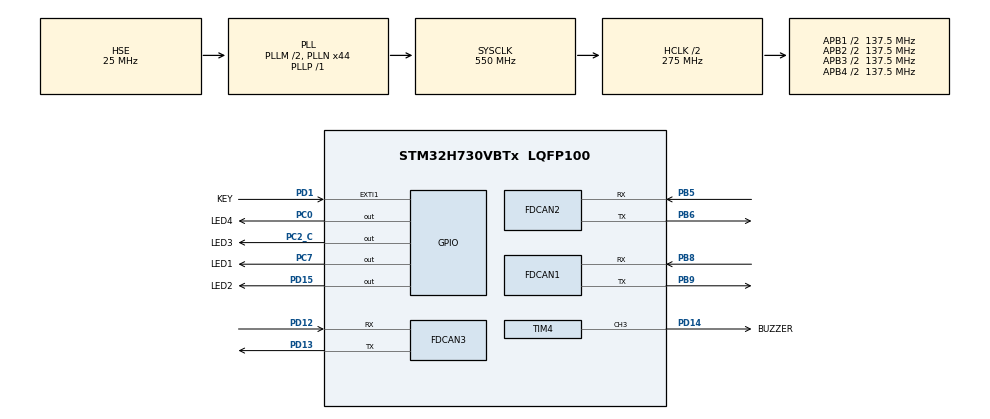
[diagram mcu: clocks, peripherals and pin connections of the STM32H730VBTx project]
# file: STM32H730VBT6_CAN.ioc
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CORTEX_M7.default_mode_Activation=1
FDCAN1.AutoRetransmission=ENABLE
FDCAN1.CalculateBaudRateNominal=1000000
FDCAN1.CalculateTimeBitNominal=1000
FDCAN1.CalculateTimeQuantumNominal=200.0
FDCAN1.DataSyncJumpWidth=2
FDCAN1.DataTimeSeg1=13
FDCAN1.DataTimeSeg2=2
FDCAN1.ExtFiltersNbr=4
FDCAN1.NominalPrescaler=5
FDCAN1.NominalSyncJumpWidth=20
FDCAN1.NominalTimeSeg1=2
FDCAN1.NominalTimeSeg2=2
FDCAN1.ProtocolException=ENABLE
FDCAN1.RxBuffersNbr=2
FDCAN1.RxFifo0ElmtsNbr=8
FDCAN1.RxFifo1ElmtsNbr=2
FDCAN1.StdFiltersNbr=4
FDCAN1.TxBuffersNbr=8
FDCAN1.TxEventsNbr=8
FDCAN1.TxFifoQueueElmtsNbr=8
FDCAN2.AutoRetransmission=ENABLE
FDCAN2.CalculateBaudRateNominal=1000000
FDCAN2.CalculateTimeBitNominal=1000
FDCAN2.CalculateTimeQuantumNominal=200.0
FDCAN2.DataSyncJumpWidth=2
FDCAN2.DataTimeSeg1=13
FDCAN2.ExtFiltersNbr=4
FDCAN2.MessageRAMOffset=0x406
FDCAN2.NominalPrescaler=5
FDCAN2.NominalSyncJumpWidth=20
FDCAN2.ProtocolException=ENABLE
FDCAN2.RxBuffersNbr=3
FDCAN2.RxFifo0ElmtsNbr=8
FDCAN2.RxFifo1ElmtsNbr=8
FDCAN2.StdFiltersNbr=4
FDCAN2.TxBuffersNbr=8
FDCAN2.TxEventsNbr=8
FDCAN2.TxFifoQueueElmtsNbr=8
FDCAN3.AutoRetransmission=DISABLE
FDCAN3.CalculateBaudRateNominal=1000000
FDCAN3.CalculateTimeBitNominal=1000
FDCAN3.CalculateTimeQuantumNominal=200.0
FDCAN3.DataSyncJumpWidth=2
FDCAN3.DataTimeSeg1=13
FDCAN3.DataTimeSeg2=2
FDCAN3.ExtFiltersNbr=4
FDCAN3.MessageRAMOffset=0x812
FDCAN3.NominalPrescaler=5
FDCAN3.NominalSyncJumpWidth=20
FDCAN3.ProtocolException=DISABLE
FDCAN3.RxBuffersNbr=2
FDCAN3.RxFifo0ElmtsNbr=8
FDCAN3.RxFifo1ElmtsNbr=8
FDCAN3.StdFiltersNbr=4
FDCAN3.TxBuffersNbr=8
FDCAN3.TxEventsNbr=8
FDCAN3.TxFifoQueueElmtsNbr=8
Mcu.Family=STM32H7
Mcu.Name=STM32H730VBTx
Mcu.Package=LQFP100
NVIC.EXTI1_IRQn=true\:0\:0\:false\:false\:true\:true\:true\:true
NVIC.FDCAN1_IT0_IRQn=true\:0\:0\:false\:false\:true\:true\:true\:true
NVIC.FDCAN1_IT1_IRQn=true\:0\:0\:false\:false\:true\:true\:true\:true
NVIC.FDCAN2_IT0_IRQn=true\:0\:0\:false\:false\:true\:true\:true\:true
NVIC.FDCAN2_IT1_IRQn=true\:0\:0\:false\:false\:true\:true\:true\:true
NVIC.FDCAN3_IT0_IRQn=true\:0\:0\:false\:false\:true\:true\:true\:true
NVIC.FDCAN3_IT1_IRQn=true\:0\:0\:false\:false\:true\:true\:true\:true
NVIC.PriorityGroup=NVIC_PRIORITYGROUP_4
PA13(JTMS/SWDIO).Mode=Serial_Wire
PA13(JTMS/SWDIO).Signal=DEBUG_JTMS-SWDIO
PA14(JTCK/SWCLK).Mode=Serial_Wire
PA14(JTCK/SWCLK).Signal=DEBUG_JTCK-SWCLK
PA6.Signal=OCTOSPIM_P1_IO3
PB2.Signal=OCTOSPIM_P1_CLK
PB5.Mode=FDCAN_Activate
PB5.Signal=FDCAN2_RX
PB6.Mode=FDCAN_Activate
PB6.Signal=FDCAN2_TX
PB8.Mode=FDCAN_Activate
PB8.Signal=FDCAN1_RX
PB9.Mode=FDCAN_Activate
PB9.Signal=FDCAN1_TX
PC0.GPIO_Label=LED4
PC0.Signal=GPIO_Output
PC10.Signal=OCTOSPIM_P1_IO1
PC14-OSC32_IN.Mode=LSE-External-Oscillator
PC14-OSC32_IN.Signal=RCC_OSC32_IN
PC15-OSC32_OUT.Mode=LSE-External-Oscillator
PC15-OSC32_OUT.Signal=RCC_OSC32_OUT
PC2_C.GPIO_Label=LED3
PC2_C.Signal=GPIO_Output
PC7.GPIO_Label=LED1
PC7.Signal=GPIO_Output
PC9.Signal=OCTOSPIM_P1_IO0
PD1.GPIO_Label=KEY
PD1.GPIO_ModeDefaultEXTI=GPIO_MODE_IT_FALLING
PD1.Signal=GPXTI1
PD12.Mode=FDCAN_Activate
PD12.Signal=FDCAN3_RX
PD13.Mode=FDCAN_Activate
PD13.Signal=FDCAN3_TX
PD14.GPIO_Label=BUZZER
PD14.Signal=S_TIM4_CH3
PD15.GPIO_Label=LED2
PD15.Signal=GPIO_Output
PH0-OSC_IN.Mode=HSE-External-Oscillator
PH0-OSC_IN.Signal=RCC_OSC_IN
PH1-OSC_OUT.Mode=HSE-External-Oscillator
PH1-OSC_OUT.Signal=RCC_OSC_OUT
ProjectManager.HeapSize=0x200
ProjectManager.StackSize=0x400
ProjectManager.TargetToolchain=STM32CubeIDE
RCC.ADCFreq_Value=50390625
RCC.APB1Freq_Value=137500000
RCC.APB2Freq_Value=137500000
RCC.APB3Freq_Value=137500000
RCC.APB4Freq_Value=137500000
RCC.CortexFreq_Value=550000000
RCC.D1PPRE=RCC_APB3_DIV2
RCC.D2PPRE1=RCC_APB1_DIV2
RCC.D2PPRE2=RCC_APB2_DIV2
RCC.D3PPRE=RCC_APB4_DIV2
RCC.DIVM1=2
RCC.DIVN1=44
RCC.DIVP1=1
RCC.DIVQ1=4
RCC.FDCANCLockSelection=RCC_FDCANCLKSOURCE_HSE
RCC.HCLKFreq_Value=275000000
RCC.HPRE=RCC_HCLK_DIV2
RCC.PLL2FRACN=0
RCC.PLL3FRACN=0
RCC.PLLFRACN=0
RCC.PLLSourceVirtual=RCC_PLLSOURCE_HSE
RCC.SYSCLKFreq_VALUE=550000000
RCC.SYSCLKSource=RCC_SYSCLKSOURCE_PLLCLK
RCC.USBFreq_Value=137500000
SH.S_TIM4_CH3.0=TIM4_CH3,PWM Generation3 CH3
TIM4.AutoReloadPreload=TIM_AUTORELOAD_PRELOAD_ENABLE
TIM4.Channel-PWM\ Generation3\ CH3=TIM_CHANNEL_3
TIM4.OCFastMode_PWM-PWM\ Generation3\ CH3=TIM_OCFAST_ENABLE
TIM4.Period=10999
TIM4.Prescaler=49
board=custom

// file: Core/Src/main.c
/* USER CODE BEGIN Header */
/**
 ******************************************************************************
 * @file           : main.c
 * @brief          : Main program body
 ******************************************************************************
 * @attention
 *
 * Copyright (c) 2024 STMicroelectronics.
 * All rights reserved.
 *
 * This software is licensed under terms that can be found in the LICENSE file
 * in the root directory of this software component.
 * If no LICENSE file comes with this software, it is provided AS-IS.
 *
 ******************************************************************************
 */
/* USER CODE END Header */
#include "main.h"
#include "fdcan.h"
#include "tim.h"
#include "gpio.h"

/* USER CODE BEGIN Includes */
#include "BUZZER.h"
#include "bsp_fdcan.h"
/* USER CODE END Includes */

/* USER CODE BEGIN PV */
uint8_t tx_data[8] = {0,1,2,3,4,5,6,7};
/* USER CODE END PV */

void SystemClock_Config(void);
static void MPU_Config(void);

int main(void)
{

  /* MPU Configuration--------------------------------------------------------*/
  MPU_Config();

  /* MCU Configuration--------------------------------------------------------*/

  /* Reset of all peripherals, Initializes the Flash interface and the Systick. */
  HAL_Init();

  /* Configure the system clock */
  SystemClock_Config();

  /* Initialize all configured peripherals */
  MX_GPIO_Init();
  MX_TIM4_Init();
  MX_FDCAN1_Init();
  MX_FDCAN2_Init();
  MX_FDCAN3_Init();
  /* USER CODE BEGIN 2 */
    bsp_can_init();

    BUZZER_0N(400);
    HAL_Delay(100);
    BUZZER_Stop();
    HAL_Delay(100);
    BUZZER_0N(500);
    HAL_Delay(100);
    BUZZER_Stop();
    BUZZER_0N(700);
    HAL_Delay(114);
    BUZZER_Stop();
  /* USER CODE END 2 */

  /* Infinite loop */
  /* USER CODE BEGIN WHILE */
    while (1) {
        fdcanx_send_data(&hfdcan1, 0x520, tx_data, 8);
        HAL_Delay(100);

        fdcanx_send_data(&hfdcan2, 0x520, tx_data, 8);
        HAL_Delay(100);

        fdcanx_send_data(&hfdcan3, 0x520, tx_data, 8);
        HAL_Delay(100);

    /* USER CODE END WHILE */

    }
}

void SystemClock_Config(void)
{
  RCC_OscInitTypeDef RCC_OscInitStruct = {0};
  RCC_ClkInitTypeDef RCC_ClkInitStruct = {0};

  /** Supply configuration update enable
  */
  HAL_PWREx_ConfigSupply(PWR_LDO_SUPPLY);

  /** Configure the main internal regulator output voltage
  */
  __HAL_PWR_VOLTAGESCALING_CONFIG(PWR_REGULATOR_VOLTAGE_SCALE0);

  while(!__HAL_PWR_GET_FLAG(PWR_FLAG_VOSRDY)) {}

  /** Initializes the RCC Oscillators according to the specified parameters
  * in the RCC_OscInitTypeDef structure.
  */
  RCC_OscInitStruct.OscillatorType = RCC_OSCILLATORTYPE_HSE;
  RCC_OscInitStruct.HSEState = RCC_HSE_ON;
  RCC_OscInitStruct.PLL.PLLState = RCC_PLL_ON;
  RCC_OscInitStruct.PLL.PLLSource = RCC_PLLSOURCE_HSE;
  RCC_OscInitStruct.PLL.PLLM = 2;
  RCC_OscInitStruct.PLL.PLLN = 44;
  RCC_OscInitStruct.PLL.PLLP = 1;
  RCC_OscInitStruct.PLL.PLLQ = 4;
  RCC_OscInitStruct.PLL.PLLR = 2;
  RCC_OscInitStruct.PLL.PLLRGE = RCC_PLL1VCIRANGE_3;
  RCC_OscInitStruct.PLL.PLLVCOSEL = RCC_PLL1VCOWIDE;
  RCC_OscInitStruct.PLL.PLLFRACN = 0;
  if (HAL_RCC_OscConfig(&RCC_OscInitStruct) != HAL_OK)
  {
    Error_Handler();
  }

  /** Initializes the CPU, AHB and APB buses clocks
  */
  RCC_ClkInitStruct.ClockType = RCC_CLOCKTYPE_HCLK|RCC_CLOCKTYPE_SYSCLK
                              |RCC_CLOCKTYPE_PCLK1|RCC_CLOCKTYPE_PCLK2
                              |RCC_CLOCKTYPE_D3PCLK1|RCC_CLOCKTYPE_D1PCLK1;
  RCC_ClkInitStruct.SYSCLKSource = RCC_SYSCLKSOURCE_PLLCLK;
  RCC_ClkInitStruct.SYSCLKDivider = RCC_SYSCLK_DIV1;
  RCC_ClkInitStruct.AHBCLKDivider = RCC_HCLK_DIV2;
  RCC_ClkInitStruct.APB3CLKDivider = RCC_APB3_DIV2;
  RCC_ClkInitStruct.APB1CLKDivider = RCC_APB1_DIV2;
  RCC_ClkInitStruct.APB2CLKDivider = RCC_APB2_DIV2;
  RCC_ClkInitStruct.APB4CLKDivider = RCC_APB4_DIV2;

  if (HAL_RCC_ClockConfig(&RCC_ClkInitStruct, FLASH_LATENCY_3) != HAL_OK)
  {
    Error_Handler();
  }
}

 /* MPU Configuration */

void MPU_Config(void)
{
  MPU_Region_InitTypeDef MPU_InitStruct = {0};

  /* Disables the MPU */
  HAL_MPU_Disable();

  /** Initializes and configures the Region and the memory to be protected
  */
  MPU_InitStruct.Enable = MPU_REGION_ENABLE;
  MPU_InitStruct.Number = MPU_REGION_NUMBER0;
  MPU_InitStruct.BaseAddress = 0x0;
  MPU_InitStruct.Size = MPU_REGION_SIZE_4GB;
  MPU_InitStruct.SubRegionDisable = 0x87;
  MPU_InitStruct.TypeExtField = MPU_TEX_LEVEL0;
  MPU_InitStruct.AccessPermission = MPU_REGION_NO_ACCESS;
  MPU_InitStruct.DisableExec = MPU_INSTRUCTION_ACCESS_DISABLE;
  MPU_InitStruct.IsShareable = MPU_ACCESS_SHAREABLE;
  MPU_InitStruct.IsCacheable = MPU_ACCESS_NOT_CACHEABLE;
  MPU_InitStruct.IsBufferable = MPU_ACCESS_NOT_BUFFERABLE;

  HAL_MPU_ConfigRegion(&MPU_InitStruct);
  /* Enables the MPU */
  HAL_MPU_Enable(MPU_PRIVILEGED_DEFAULT);

}

void Error_Handler(void)
{
    __disable_irq();
    while (1) {
    }
}
